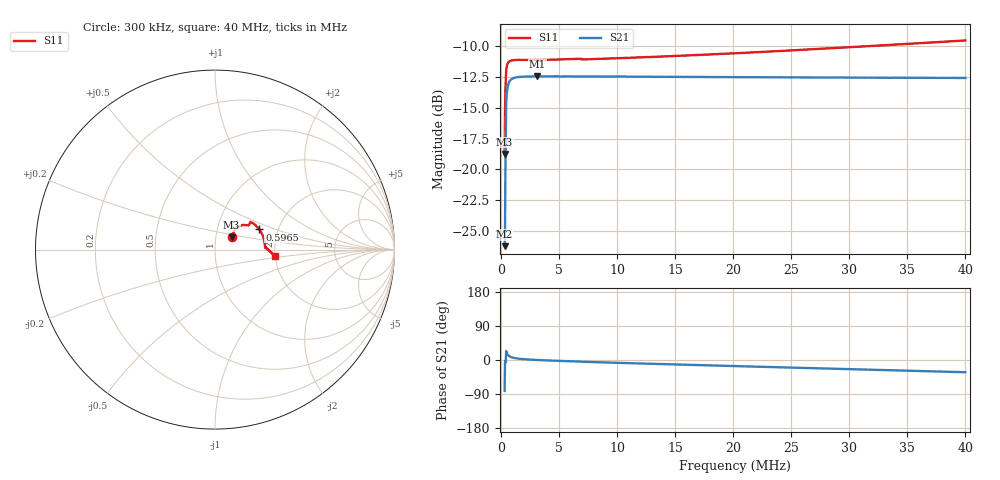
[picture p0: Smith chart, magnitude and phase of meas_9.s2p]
# HZ S RI R 50
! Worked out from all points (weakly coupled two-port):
!   1206 points, 300 kHz to 40 MHz, reference 50 ohm
!   highest |S21| = -12.43 dB at 3.133 MHz (marker M1); lowest = -26.3 dB at 300 kHz (marker M2)
!   lowest |S11| = -18.8 dB at 300 kHz (marker M3), VSWR 1.26, Z = 59.6 + j8.31 ohm
!   |S11| at or under -10 dB: start of sweep to 31.1 MHz; 31.11497 MHz to 31.1885 MHz (73.53 kHz wide, 0.236 % of centre)
!   S12 and S22 are empty: the file has one direction only
!   S11 on the Smith chart (normalised r, x): 300 kHz: 1.19, +0.17; 596.5 kHz: 1.60, +0.39; 40 MHz: 1.99, -0.17
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300000  0.0926 0.0688  0.00697 -0.0482  0 0  0 0
398838  0.1879 0.1351  0.1244 -0.0131  0 0  0 0
530622  0.2354 0.1264  0.2041 0.058  0 0  0 0
563568  0.2422 0.1188  0.2103 0.0534  0 0  0 0
596514  0.2472 0.112  0.2148 0.0495  0 0  0 0
629460  0.2514 0.106  0.2182 0.0461  0 0  0 0
662406  0.2547 0.1004  0.2211 0.0432  0 0  0 0
728298  0.2598 0.0912  0.2252 0.0382  0 0  0 0
860082  0.2665 0.0768  0.2301 0.0309  0 0  0 0
1024812  0.2706 0.064  0.2332 0.0248  0 0  0 0
1354272  0.2746 0.0483  0.2363 0.0171  0 0  0 0
1782570  0.2764 0.0365  0.2379 0.011  0 0  0 0
2342652  0.2771 0.028  0.2385 0.0055  0 0  0 0
3133356  0.2776 0.0217  0.2391 -1.61e-05  0 0  0 0
5143062  0.2796 0.0144  0.2387 -0.0101  0 0  0 0
6691524  0.2814 0.0112  0.2381 -0.0167  0 0  0 0
6922146  0.2795 0.0145  0.2378 -0.0194  0 0  0 0
1.354429e7  0.2872 0.00646  0.2341 -0.0434  0 0  0 0
2.016644e7  0.2967 -0.00115  0.228 -0.0657  0 0  0 0
2.678858e7  0.3078 -0.0105  0.22 -0.0867  0 0  0 0
3.341073e7  0.32 -0.0227  0.2104 -0.1069  0 0  0 0
3.999993e7  0.3324 -0.0371  0.199 -0.1257  0 0  0 0
